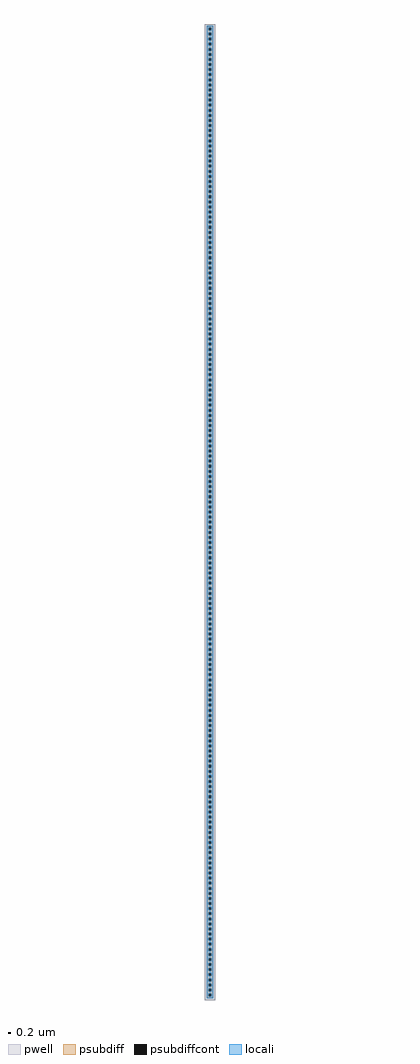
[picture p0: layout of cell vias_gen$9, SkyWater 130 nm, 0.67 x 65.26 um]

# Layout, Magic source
magic
tech sky130A
magscale 1 2
<< pwell >>
rect -26 -26 108 13026
<< psubdiff >>
rect 0 12977 82 13000
rect 0 12943 24 12977
rect 58 12943 82 12977
rect 0 12909 82 12943
rect 0 12875 24 12909
rect 58 12875 82 12909
rect 0 12841 82 12875
rect 0 12807 24 12841
rect 58 12807 82 12841
rect 0 12773 82 12807
rect 0 12739 24 12773
rect 58 12739 82 12773
rect 0 12705 82 12739
rect 0 12671 24 12705
rect 58 12671 82 12705
rect 0 12637 82 12671
rect 0 12603 24 12637
rect 58 12603 82 12637
rect 0 12569 82 12603
rect 0 12535 24 12569
rect 58 12535 82 12569
rect 0 12501 82 12535
rect 0 12467 24 12501
rect 58 12467 82 12501
rect 0 12433 82 12467
rect 0 12399 24 12433
rect 58 12399 82 12433
rect 0 12365 82 12399
rect 0 12331 24 12365
rect 58 12331 82 12365
rect 0 12297 82 12331
rect 0 12263 24 12297
rect 58 12263 82 12297
rect 0 12229 82 12263
rect 0 12195 24 12229
rect 58 12195 82 12229
rect 0 12161 82 12195
rect 0 12127 24 12161
rect 58 12127 82 12161
rect 0 12093 82 12127
rect 0 12059 24 12093
rect 58 12059 82 12093
rect 0 12025 82 12059
rect 0 11991 24 12025
rect 58 11991 82 12025
rect 0 11957 82 11991
rect 0 11923 24 11957
rect 58 11923 82 11957
rect 0 11889 82 11923
rect 0 11855 24 11889
rect 58 11855 82 11889
rect 0 11821 82 11855
rect 0 11787 24 11821
rect 58 11787 82 11821
rect 0 11753 82 11787
rect 0 11719 24 11753
rect 58 11719 82 11753
rect 0 11685 82 11719
rect 0 11651 24 11685
rect 58 11651 82 11685
rect 0 11617 82 11651
rect 0 11583 24 11617
rect 58 11583 82 11617
rect 0 11549 82 11583
rect 0 11515 24 11549
rect 58 11515 82 11549
rect 0 11481 82 11515
rect 0 11447 24 11481
rect 58 11447 82 11481
rect 0 11413 82 11447
rect 0 11379 24 11413
rect 58 11379 82 11413
rect 0 11345 82 11379
rect 0 11311 24 11345
rect 58 11311 82 11345
rect 0 11277 82 11311
rect 0 11243 24 11277
rect 58 11243 82 11277
rect 0 11209 82 11243
rect 0 11175 24 11209
rect 58 11175 82 11209
rect 0 11141 82 11175
rect 0 11107 24 11141
rect 58 11107 82 11141
rect 0 11073 82 11107
rect 0 11039 24 11073
rect 58 11039 82 11073
rect 0 11005 82 11039
rect 0 10971 24 11005
rect 58 10971 82 11005
rect 0 10937 82 10971
rect 0 10903 24 10937
rect 58 10903 82 10937
rect 0 10869 82 10903
rect 0 10835 24 10869
rect 58 10835 82 10869
rect 0 10801 82 10835
rect 0 10767 24 10801
rect 58 10767 82 10801
rect 0 10733 82 10767
rect 0 10699 24 10733
rect 58 10699 82 10733
rect 0 10665 82 10699
rect 0 10631 24 10665
rect 58 10631 82 10665
rect 0 10597 82 10631
rect 0 10563 24 10597
rect 58 10563 82 10597
rect 0 10529 82 10563
rect 0 10495 24 10529
rect 58 10495 82 10529
rect 0 10461 82 10495
rect 0 10427 24 10461
rect 58 10427 82 10461
rect 0 10393 82 10427
rect 0 10359 24 10393
rect 58 10359 82 10393
rect 0 10325 82 10359
rect 0 10291 24 10325
rect 58 10291 82 10325
rect 0 10257 82 10291
rect 0 10223 24 10257
rect 58 10223 82 10257
rect 0 10189 82 10223
rect 0 10155 24 10189
rect 58 10155 82 10189
rect 0 10121 82 10155
rect 0 10087 24 10121
rect 58 10087 82 10121
rect 0 10053 82 10087
rect 0 10019 24 10053
rect 58 10019 82 10053
rect 0 9985 82 10019
rect 0 9951 24 9985
rect 58 9951 82 9985
rect 0 9917 82 9951
rect 0 9883 24 9917
rect 58 9883 82 9917
rect 0 9849 82 9883
rect 0 9815 24 9849
rect 58 9815 82 9849
rect 0 9781 82 9815
rect 0 9747 24 9781
rect 58 9747 82 9781
rect 0 9713 82 9747
rect 0 9679 24 9713
rect 58 9679 82 9713
rect 0 9645 82 9679
rect 0 9611 24 9645
rect 58 9611 82 9645
rect 0 9577 82 9611
rect 0 9543 24 9577
rect 58 9543 82 9577
rect 0 9509 82 9543
rect 0 9475 24 9509
rect 58 9475 82 9509
rect 0 9441 82 9475
rect 0 9407 24 9441
rect 58 9407 82 9441
rect 0 9373 82 9407
rect 0 9339 24 9373
rect 58 9339 82 9373
rect 0 9305 82 9339
rect 0 9271 24 9305
rect 58 9271 82 9305
rect 0 9237 82 9271
rect 0 9203 24 9237
rect 58 9203 82 9237
rect 0 9169 82 9203
rect 0 9135 24 9169
rect 58 9135 82 9169
rect 0 9101 82 9135
rect 0 9067 24 9101
rect 58 9067 82 9101
rect 0 9033 82 9067
rect 0 8999 24 9033
rect 58 8999 82 9033
rect 0 8965 82 8999
rect 0 8931 24 8965
rect 58 8931 82 8965
rect 0 8897 82 8931
rect 0 8863 24 8897
rect 58 8863 82 8897
rect 0 8829 82 8863
rect 0 8795 24 8829
rect 58 8795 82 8829
rect 0 8761 82 8795
rect 0 8727 24 8761
rect 58 8727 82 8761
rect 0 8693 82 8727
rect 0 8659 24 8693
rect 58 8659 82 8693
rect 0 8625 82 8659
rect 0 8591 24 8625
rect 58 8591 82 8625
rect 0 8557 82 8591
rect 0 8523 24 8557
rect 58 8523 82 8557
rect 0 8489 82 8523
rect 0 8455 24 8489
rect 58 8455 82 8489
rect 0 8421 82 8455
rect 0 8387 24 8421
rect 58 8387 82 8421
rect 0 8353 82 8387
rect 0 8319 24 8353
rect 58 8319 82 8353
rect 0 8285 82 8319
rect 0 8251 24 8285
rect 58 8251 82 8285
rect 0 8217 82 8251
rect 0 8183 24 8217
rect 58 8183 82 8217
rect 0 8149 82 8183
rect 0 8115 24 8149
rect 58 8115 82 8149
rect 0 8081 82 8115
rect 0 8047 24 8081
rect 58 8047 82 8081
rect 0 8013 82 8047
rect 0 7979 24 8013
rect 58 7979 82 8013
rect 0 7945 82 7979
rect 0 7911 24 7945
rect 58 7911 82 7945
rect 0 7877 82 7911
rect 0 7843 24 7877
rect 58 7843 82 7877
rect 0 7809 82 7843
rect 0 7775 24 7809
rect 58 7775 82 7809
rect 0 7741 82 7775
rect 0 7707 24 7741
rect 58 7707 82 7741
rect 0 7673 82 7707
rect 0 7639 24 7673
rect 58 7639 82 7673
rect 0 7605 82 7639
rect 0 7571 24 7605
rect 58 7571 82 7605
rect 0 7537 82 7571
rect 0 7503 24 7537
rect 58 7503 82 7537
rect 0 7469 82 7503
rect 0 7435 24 7469
rect 58 7435 82 7469
rect 0 7401 82 7435
rect 0 7367 24 7401
rect 58 7367 82 7401
rect 0 7333 82 7367
rect 0 7299 24 7333
rect 58 7299 82 7333
rect 0 7265 82 7299
rect 0 7231 24 7265
rect 58 7231 82 7265
rect 0 7197 82 7231
rect 0 7163 24 7197
rect 58 7163 82 7197
rect 0 7129 82 7163
rect 0 7095 24 7129
rect 58 7095 82 7129
rect 0 7061 82 7095
rect 0 7027 24 7061
rect 58 7027 82 7061
rect 0 6993 82 7027
rect 0 6959 24 6993
rect 58 6959 82 6993
rect 0 6925 82 6959
rect 0 6891 24 6925
rect 58 6891 82 6925
rect 0 6857 82 6891
rect 0 6823 24 6857
rect 58 6823 82 6857
rect 0 6789 82 6823
rect 0 6755 24 6789
rect 58 6755 82 6789
rect 0 6721 82 6755
rect 0 6687 24 6721
rect 58 6687 82 6721
rect 0 6653 82 6687
rect 0 6619 24 6653
rect 58 6619 82 6653
rect 0 6585 82 6619
rect 0 6551 24 6585
rect 58 6551 82 6585
rect 0 6517 82 6551
rect 0 6483 24 6517
rect 58 6483 82 6517
rect 0 6449 82 6483
rect 0 6415 24 6449
rect 58 6415 82 6449
rect 0 6381 82 6415
rect 0 6347 24 6381
rect 58 6347 82 6381
rect 0 6313 82 6347
rect 0 6279 24 6313
rect 58 6279 82 6313
rect 0 6245 82 6279
rect 0 6211 24 6245
rect 58 6211 82 6245
rect 0 6177 82 6211
rect 0 6143 24 6177
rect 58 6143 82 6177
rect 0 6109 82 6143
rect 0 6075 24 6109
rect 58 6075 82 6109
rect 0 6041 82 6075
rect 0 6007 24 6041
rect 58 6007 82 6041
rect 0 5973 82 6007
rect 0 5939 24 5973
rect 58 5939 82 5973
rect 0 5905 82 5939
rect 0 5871 24 5905
rect 58 5871 82 5905
rect 0 5837 82 5871
rect 0 5803 24 5837
rect 58 5803 82 5837
rect 0 5769 82 5803
rect 0 5735 24 5769
rect 58 5735 82 5769
rect 0 5701 82 5735
rect 0 5667 24 5701
rect 58 5667 82 5701
rect 0 5633 82 5667
rect 0 5599 24 5633
rect 58 5599 82 5633
rect 0 5565 82 5599
rect 0 5531 24 5565
rect 58 5531 82 5565
rect 0 5497 82 5531
rect 0 5463 24 5497
rect 58 5463 82 5497
rect 0 5429 82 5463
rect 0 5395 24 5429
rect 58 5395 82 5429
rect 0 5361 82 5395
rect 0 5327 24 5361
rect 58 5327 82 5361
rect 0 5293 82 5327
rect 0 5259 24 5293
rect 58 5259 82 5293
rect 0 5225 82 5259
rect 0 5191 24 5225
rect 58 5191 82 5225
rect 0 5157 82 5191
rect 0 5123 24 5157
rect 58 5123 82 5157
rect 0 5089 82 5123
rect 0 5055 24 5089
rect 58 5055 82 5089
rect 0 5021 82 5055
rect 0 4987 24 5021
rect 58 4987 82 5021
rect 0 4953 82 4987
rect 0 4919 24 4953
rect 58 4919 82 4953
rect 0 4885 82 4919
rect 0 4851 24 4885
rect 58 4851 82 4885
rect 0 4817 82 4851
rect 0 4783 24 4817
rect 58 4783 82 4817
rect 0 4749 82 4783
rect 0 4715 24 4749
rect 58 4715 82 4749
rect 0 4681 82 4715
rect 0 4647 24 4681
rect 58 4647 82 4681
rect 0 4613 82 4647
rect 0 4579 24 4613
rect 58 4579 82 4613
rect 0 4545 82 4579
rect 0 4511 24 4545
rect 58 4511 82 4545
rect 0 4477 82 4511
rect 0 4443 24 4477
rect 58 4443 82 4477
rect 0 4409 82 4443
rect 0 4375 24 4409
rect 58 4375 82 4409
rect 0 4341 82 4375
rect 0 4307 24 4341
rect 58 4307 82 4341
rect 0 4273 82 4307
rect 0 4239 24 4273
rect 58 4239 82 4273
rect 0 4205 82 4239
rect 0 4171 24 4205
rect 58 4171 82 4205
rect 0 4137 82 4171
rect 0 4103 24 4137
rect 58 4103 82 4137
rect 0 4069 82 4103
rect 0 4035 24 4069
rect 58 4035 82 4069
rect 0 4001 82 4035
rect 0 3967 24 4001
rect 58 3967 82 4001
rect 0 3933 82 3967
rect 0 3899 24 3933
rect 58 3899 82 3933
rect 0 3865 82 3899
rect 0 3831 24 3865
rect 58 3831 82 3865
rect 0 3797 82 3831
rect 0 3763 24 3797
rect 58 3763 82 3797
rect 0 3729 82 3763
rect 0 3695 24 3729
rect 58 3695 82 3729
rect 0 3661 82 3695
rect 0 3627 24 3661
rect 58 3627 82 3661
rect 0 3593 82 3627
rect 0 3559 24 3593
rect 58 3559 82 3593
rect 0 3525 82 3559
rect 0 3491 24 3525
rect 58 3491 82 3525
rect 0 3457 82 3491
rect 0 3423 24 3457
rect 58 3423 82 3457
rect 0 3389 82 3423
rect 0 3355 24 3389
rect 58 3355 82 3389
rect 0 3321 82 3355
rect 0 3287 24 3321
rect 58 3287 82 3321
rect 0 3253 82 3287
rect 0 3219 24 3253
rect 58 3219 82 3253
rect 0 3185 82 3219
rect 0 3151 24 3185
rect 58 3151 82 3185
rect 0 3117 82 3151
rect 0 3083 24 3117
rect 58 3083 82 3117
rect 0 3049 82 3083
rect 0 3015 24 3049
rect 58 3015 82 3049
rect 0 2981 82 3015
rect 0 2947 24 2981
rect 58 2947 82 2981
rect 0 2913 82 2947
rect 0 2879 24 2913
rect 58 2879 82 2913
rect 0 2845 82 2879
rect 0 2811 24 2845
rect 58 2811 82 2845
rect 0 2777 82 2811
rect 0 2743 24 2777
rect 58 2743 82 2777
rect 0 2709 82 2743
rect 0 2675 24 2709
rect 58 2675 82 2709
rect 0 2641 82 2675
rect 0 2607 24 2641
rect 58 2607 82 2641
rect 0 2573 82 2607
rect 0 2539 24 2573
rect 58 2539 82 2573
rect 0 2505 82 2539
rect 0 2471 24 2505
rect 58 2471 82 2505
rect 0 2437 82 2471
rect 0 2403 24 2437
rect 58 2403 82 2437
rect 0 2369 82 2403
rect 0 2335 24 2369
rect 58 2335 82 2369
rect 0 2301 82 2335
rect 0 2267 24 2301
rect 58 2267 82 2301
rect 0 2233 82 2267
rect 0 2199 24 2233
rect 58 2199 82 2233
rect 0 2165 82 2199
rect 0 2131 24 2165
rect 58 2131 82 2165
rect 0 2097 82 2131
rect 0 2063 24 2097
rect 58 2063 82 2097
rect 0 2029 82 2063
rect 0 1995 24 2029
rect 58 1995 82 2029
rect 0 1961 82 1995
rect 0 1927 24 1961
rect 58 1927 82 1961
rect 0 1893 82 1927
rect 0 1859 24 1893
rect 58 1859 82 1893
rect 0 1825 82 1859
rect 0 1791 24 1825
rect 58 1791 82 1825
rect 0 1757 82 1791
rect 0 1723 24 1757
rect 58 1723 82 1757
rect 0 1689 82 1723
rect 0 1655 24 1689
rect 58 1655 82 1689
rect 0 1621 82 1655
rect 0 1587 24 1621
rect 58 1587 82 1621
rect 0 1553 82 1587
rect 0 1519 24 1553
rect 58 1519 82 1553
rect 0 1485 82 1519
rect 0 1451 24 1485
rect 58 1451 82 1485
rect 0 1417 82 1451
rect 0 1383 24 1417
rect 58 1383 82 1417
rect 0 1349 82 1383
rect 0 1315 24 1349
rect 58 1315 82 1349
rect 0 1281 82 1315
rect 0 1247 24 1281
rect 58 1247 82 1281
rect 0 1213 82 1247
rect 0 1179 24 1213
rect 58 1179 82 1213
rect 0 1145 82 1179
rect 0 1111 24 1145
rect 58 1111 82 1145
rect 0 1077 82 1111
rect 0 1043 24 1077
rect 58 1043 82 1077
rect 0 1009 82 1043
rect 0 975 24 1009
rect 58 975 82 1009
rect 0 941 82 975
rect 0 907 24 941
rect 58 907 82 941
rect 0 873 82 907
rect 0 839 24 873
rect 58 839 82 873
rect 0 805 82 839
rect 0 771 24 805
rect 58 771 82 805
rect 0 737 82 771
rect 0 703 24 737
rect 58 703 82 737
rect 0 669 82 703
rect 0 635 24 669
rect 58 635 82 669
rect 0 601 82 635
rect 0 567 24 601
rect 58 567 82 601
rect 0 533 82 567
rect 0 499 24 533
rect 58 499 82 533
rect 0 465 82 499
rect 0 431 24 465
rect 58 431 82 465
rect 0 397 82 431
rect 0 363 24 397
rect 58 363 82 397
rect 0 329 82 363
rect 0 295 24 329
rect 58 295 82 329
rect 0 261 82 295
rect 0 227 24 261
rect 58 227 82 261
rect 0 193 82 227
rect 0 159 24 193
rect 58 159 82 193
rect 0 125 82 159
rect 0 91 24 125
rect 58 91 82 125
rect 0 57 82 91
rect 0 23 24 57
rect 58 23 82 57
rect 0 0 82 23
<< psubdiffcont >>
rect 24 12943 58 12977
rect 24 12875 58 12909
rect 24 12807 58 12841
rect 24 12739 58 12773
rect 24 12671 58 12705
rect 24 12603 58 12637
rect 24 12535 58 12569
rect 24 12467 58 12501
rect 24 12399 58 12433
rect 24 12331 58 12365
rect 24 12263 58 12297
rect 24 12195 58 12229
rect 24 12127 58 12161
rect 24 12059 58 12093
rect 24 11991 58 12025
rect 24 11923 58 11957
rect 24 11855 58 11889
rect 24 11787 58 11821
rect 24 11719 58 11753
rect 24 11651 58 11685
rect 24 11583 58 11617
rect 24 11515 58 11549
rect 24 11447 58 11481
rect 24 11379 58 11413
rect 24 11311 58 11345
rect 24 11243 58 11277
rect 24 11175 58 11209
rect 24 11107 58 11141
rect 24 11039 58 11073
rect 24 10971 58 11005
rect 24 10903 58 10937
rect 24 10835 58 10869
rect 24 10767 58 10801
rect 24 10699 58 10733
rect 24 10631 58 10665
rect 24 10563 58 10597
rect 24 10495 58 10529
rect 24 10427 58 10461
rect 24 10359 58 10393
rect 24 10291 58 10325
rect 24 10223 58 10257
rect 24 10155 58 10189
rect 24 10087 58 10121
rect 24 10019 58 10053
rect 24 9951 58 9985
rect 24 9883 58 9917
rect 24 9815 58 9849
rect 24 9747 58 9781
rect 24 9679 58 9713
rect 24 9611 58 9645
rect 24 9543 58 9577
rect 24 9475 58 9509
rect 24 9407 58 9441
rect 24 9339 58 9373
rect 24 9271 58 9305
rect 24 9203 58 9237
rect 24 9135 58 9169
rect 24 9067 58 9101
rect 24 8999 58 9033
rect 24 8931 58 8965
rect 24 8863 58 8897
rect 24 8795 58 8829
rect 24 8727 58 8761
rect 24 8659 58 8693
rect 24 8591 58 8625
rect 24 8523 58 8557
rect 24 8455 58 8489
rect 24 8387 58 8421
rect 24 8319 58 8353
rect 24 8251 58 8285
rect 24 8183 58 8217
rect 24 8115 58 8149
rect 24 8047 58 8081
rect 24 7979 58 8013
rect 24 7911 58 7945
rect 24 7843 58 7877
rect 24 7775 58 7809
rect 24 7707 58 7741
rect 24 7639 58 7673
rect 24 7571 58 7605
rect 24 7503 58 7537
rect 24 7435 58 7469
rect 24 7367 58 7401
rect 24 7299 58 7333
rect 24 7231 58 7265
rect 24 7163 58 7197
rect 24 7095 58 7129
rect 24 7027 58 7061
rect 24 6959 58 6993
rect 24 6891 58 6925
rect 24 6823 58 6857
rect 24 6755 58 6789
rect 24 6687 58 6721
rect 24 6619 58 6653
rect 24 6551 58 6585
rect 24 6483 58 6517
rect 24 6415 58 6449
rect 24 6347 58 6381
rect 24 6279 58 6313
rect 24 6211 58 6245
rect 24 6143 58 6177
rect 24 6075 58 6109
rect 24 6007 58 6041
rect 24 5939 58 5973
rect 24 5871 58 5905
rect 24 5803 58 5837
rect 24 5735 58 5769
rect 24 5667 58 5701
rect 24 5599 58 5633
rect 24 5531 58 5565
rect 24 5463 58 5497
rect 24 5395 58 5429
rect 24 5327 58 5361
rect 24 5259 58 5293
rect 24 5191 58 5225
rect 24 5123 58 5157
rect 24 5055 58 5089
rect 24 4987 58 5021
rect 24 4919 58 4953
rect 24 4851 58 4885
rect 24 4783 58 4817
rect 24 4715 58 4749
rect 24 4647 58 4681
rect 24 4579 58 4613
rect 24 4511 58 4545
rect 24 4443 58 4477
rect 24 4375 58 4409
rect 24 4307 58 4341
rect 24 4239 58 4273
rect 24 4171 58 4205
rect 24 4103 58 4137
rect 24 4035 58 4069
rect 24 3967 58 4001
rect 24 3899 58 3933
rect 24 3831 58 3865
rect 24 3763 58 3797
rect 24 3695 58 3729
rect 24 3627 58 3661
rect 24 3559 58 3593
rect 24 3491 58 3525
rect 24 3423 58 3457
rect 24 3355 58 3389
rect 24 3287 58 3321
rect 24 3219 58 3253
rect 24 3151 58 3185
rect 24 3083 58 3117
rect 24 3015 58 3049
rect 24 2947 58 2981
rect 24 2879 58 2913
rect 24 2811 58 2845
rect 24 2743 58 2777
rect 24 2675 58 2709
rect 24 2607 58 2641
rect 24 2539 58 2573
rect 24 2471 58 2505
rect 24 2403 58 2437
rect 24 2335 58 2369
rect 24 2267 58 2301
rect 24 2199 58 2233
rect 24 2131 58 2165
rect 24 2063 58 2097
rect 24 1995 58 2029
rect 24 1927 58 1961
rect 24 1859 58 1893
rect 24 1791 58 1825
rect 24 1723 58 1757
rect 24 1655 58 1689
rect 24 1587 58 1621
rect 24 1519 58 1553
rect 24 1451 58 1485
rect 24 1383 58 1417
rect 24 1315 58 1349
rect 24 1247 58 1281
rect 24 1179 58 1213
rect 24 1111 58 1145
rect 24 1043 58 1077
rect 24 975 58 1009
rect 24 907 58 941
rect 24 839 58 873
rect 24 771 58 805
rect 24 703 58 737
rect 24 635 58 669
rect 24 567 58 601
rect 24 499 58 533
rect 24 431 58 465
rect 24 363 58 397
rect 24 295 58 329
rect 24 227 58 261
rect 24 159 58 193
rect 24 91 58 125
rect 24 23 58 57
<< locali >>
rect 0 12977 82 13000
rect 0 12943 24 12977
rect 58 12943 82 12977
rect 0 12909 82 12943
rect 0 12875 24 12909
rect 58 12875 82 12909
rect 0 12841 82 12875
rect 0 12807 24 12841
rect 58 12807 82 12841
rect 0 12773 82 12807
rect 0 12739 24 12773
rect 58 12739 82 12773
rect 0 12705 82 12739
rect 0 12671 24 12705
rect 58 12671 82 12705
rect 0 12637 82 12671
rect 0 12603 24 12637
rect 58 12603 82 12637
rect 0 12569 82 12603
rect 0 12535 24 12569
rect 58 12535 82 12569
rect 0 12501 82 12535
rect 0 12467 24 12501
rect 58 12467 82 12501
rect 0 12433 82 12467
rect 0 12399 24 12433
rect 58 12399 82 12433
rect 0 12365 82 12399
rect 0 12331 24 12365
rect 58 12331 82 12365
rect 0 12297 82 12331
rect 0 12263 24 12297
rect 58 12263 82 12297
rect 0 12229 82 12263
rect 0 12195 24 12229
rect 58 12195 82 12229
rect 0 12161 82 12195
rect 0 12127 24 12161
rect 58 12127 82 12161
rect 0 12093 82 12127
rect 0 12059 24 12093
rect 58 12059 82 12093
rect 0 12025 82 12059
rect 0 11991 24 12025
rect 58 11991 82 12025
rect 0 11957 82 11991
rect 0 11923 24 11957
rect 58 11923 82 11957
rect 0 11889 82 11923
rect 0 11855 24 11889
rect 58 11855 82 11889
rect 0 11821 82 11855
rect 0 11787 24 11821
rect 58 11787 82 11821
rect 0 11753 82 11787
rect 0 11719 24 11753
rect 58 11719 82 11753
rect 0 11685 82 11719
rect 0 11651 24 11685
rect 58 11651 82 11685
rect 0 11617 82 11651
rect 0 11583 24 11617
rect 58 11583 82 11617
rect 0 11549 82 11583
rect 0 11515 24 11549
rect 58 11515 82 11549
rect 0 11481 82 11515
rect 0 11447 24 11481
rect 58 11447 82 11481
rect 0 11413 82 11447
rect 0 11379 24 11413
rect 58 11379 82 11413
rect 0 11345 82 11379
rect 0 11311 24 11345
rect 58 11311 82 11345
rect 0 11277 82 11311
rect 0 11243 24 11277
rect 58 11243 82 11277
rect 0 11209 82 11243
rect 0 11175 24 11209
rect 58 11175 82 11209
rect 0 11141 82 11175
rect 0 11107 24 11141
rect 58 11107 82 11141
rect 0 11073 82 11107
rect 0 11039 24 11073
rect 58 11039 82 11073
rect 0 11005 82 11039
rect 0 10971 24 11005
rect 58 10971 82 11005
rect 0 10937 82 10971
rect 0 10903 24 10937
rect 58 10903 82 10937
rect 0 10869 82 10903
rect 0 10835 24 10869
rect 58 10835 82 10869
rect 0 10801 82 10835
rect 0 10767 24 10801
rect 58 10767 82 10801
rect 0 10733 82 10767
rect 0 10699 24 10733
rect 58 10699 82 10733
rect 0 10665 82 10699
rect 0 10631 24 10665
rect 58 10631 82 10665
rect 0 10597 82 10631
rect 0 10563 24 10597
rect 58 10563 82 10597
rect 0 10529 82 10563
rect 0 10495 24 10529
rect 58 10495 82 10529
rect 0 10461 82 10495
rect 0 10427 24 10461
rect 58 10427 82 10461
rect 0 10393 82 10427
rect 0 10359 24 10393
rect 58 10359 82 10393
rect 0 10325 82 10359
rect 0 10291 24 10325
rect 58 10291 82 10325
rect 0 10257 82 10291
rect 0 10223 24 10257
rect 58 10223 82 10257
rect 0 10189 82 10223
rect 0 10155 24 10189
rect 58 10155 82 10189
rect 0 10121 82 10155
rect 0 10087 24 10121
rect 58 10087 82 10121
rect 0 10053 82 10087
rect 0 10019 24 10053
rect 58 10019 82 10053
rect 0 9985 82 10019
rect 0 9951 24 9985
rect 58 9951 82 9985
rect 0 9917 82 9951
rect 0 9883 24 9917
rect 58 9883 82 9917
rect 0 9849 82 9883
rect 0 9815 24 9849
rect 58 9815 82 9849
rect 0 9781 82 9815
rect 0 9747 24 9781
rect 58 9747 82 9781
rect 0 9713 82 9747
rect 0 9679 24 9713
rect 58 9679 82 9713
rect 0 9645 82 9679
rect 0 9611 24 9645
rect 58 9611 82 9645
rect 0 9577 82 9611
rect 0 9543 24 9577
rect 58 9543 82 9577
rect 0 9509 82 9543
rect 0 9475 24 9509
rect 58 9475 82 9509
rect 0 9441 82 9475
rect 0 9407 24 9441
rect 58 9407 82 9441
rect 0 9373 82 9407
rect 0 9339 24 9373
rect 58 9339 82 9373
rect 0 9305 82 9339
rect 0 9271 24 9305
rect 58 9271 82 9305
rect 0 9237 82 9271
rect 0 9203 24 9237
rect 58 9203 82 9237
rect 0 9169 82 9203
rect 0 9135 24 9169
rect 58 9135 82 9169
rect 0 9101 82 9135
rect 0 9067 24 9101
rect 58 9067 82 9101
rect 0 9033 82 9067
rect 0 8999 24 9033
rect 58 8999 82 9033
rect 0 8965 82 8999
rect 0 8931 24 8965
rect 58 8931 82 8965
rect 0 8897 82 8931
rect 0 8863 24 8897
rect 58 8863 82 8897
rect 0 8829 82 8863
rect 0 8795 24 8829
rect 58 8795 82 8829
rect 0 8761 82 8795
rect 0 8727 24 8761
rect 58 8727 82 8761
rect 0 8693 82 8727
rect 0 8659 24 8693
rect 58 8659 82 8693
rect 0 8625 82 8659
rect 0 8591 24 8625
rect 58 8591 82 8625
rect 0 8557 82 8591
rect 0 8523 24 8557
rect 58 8523 82 8557
rect 0 8489 82 8523
rect 0 8455 24 8489
rect 58 8455 82 8489
rect 0 8421 82 8455
rect 0 8387 24 8421
rect 58 8387 82 8421
rect 0 8353 82 8387
rect 0 8319 24 8353
rect 58 8319 82 8353
rect 0 8285 82 8319
rect 0 8251 24 8285
rect 58 8251 82 8285
rect 0 8217 82 8251
rect 0 8183 24 8217
rect 58 8183 82 8217
rect 0 8149 82 8183
rect 0 8115 24 8149
rect 58 8115 82 8149
rect 0 8081 82 8115
rect 0 8047 24 8081
rect 58 8047 82 8081
rect 0 8013 82 8047
rect 0 7979 24 8013
rect 58 7979 82 8013
rect 0 7945 82 7979
rect 0 7911 24 7945
rect 58 7911 82 7945
rect 0 7877 82 7911
rect 0 7843 24 7877
rect 58 7843 82 7877
rect 0 7809 82 7843
rect 0 7775 24 7809
rect 58 7775 82 7809
rect 0 7741 82 7775
rect 0 7707 24 7741
rect 58 7707 82 7741
rect 0 7673 82 7707
rect 0 7639 24 7673
rect 58 7639 82 7673
rect 0 7605 82 7639
rect 0 7571 24 7605
rect 58 7571 82 7605
rect 0 7537 82 7571
rect 0 7503 24 7537
rect 58 7503 82 7537
rect 0 7469 82 7503
rect 0 7435 24 7469
rect 58 7435 82 7469
rect 0 7401 82 7435
rect 0 7367 24 7401
rect 58 7367 82 7401
rect 0 7333 82 7367
rect 0 7299 24 7333
rect 58 7299 82 7333
rect 0 7265 82 7299
rect 0 7231 24 7265
rect 58 7231 82 7265
rect 0 7197 82 7231
rect 0 7163 24 7197
rect 58 7163 82 7197
rect 0 7129 82 7163
rect 0 7095 24 7129
rect 58 7095 82 7129
rect 0 7061 82 7095
rect 0 7027 24 7061
rect 58 7027 82 7061
rect 0 6993 82 7027
rect 0 6959 24 6993
rect 58 6959 82 6993
rect 0 6925 82 6959
rect 0 6891 24 6925
rect 58 6891 82 6925
rect 0 6857 82 6891
rect 0 6823 24 6857
rect 58 6823 82 6857
rect 0 6789 82 6823
rect 0 6755 24 6789
rect 58 6755 82 6789
rect 0 6721 82 6755
rect 0 6687 24 6721
rect 58 6687 82 6721
rect 0 6653 82 6687
rect 0 6619 24 6653
rect 58 6619 82 6653
rect 0 6585 82 6619
rect 0 6551 24 6585
rect 58 6551 82 6585
rect 0 6517 82 6551
rect 0 6483 24 6517
rect 58 6483 82 6517
rect 0 6449 82 6483
rect 0 6415 24 6449
rect 58 6415 82 6449
rect 0 6381 82 6415
rect 0 6347 24 6381
rect 58 6347 82 6381
rect 0 6313 82 6347
rect 0 6279 24 6313
rect 58 6279 82 6313
rect 0 6245 82 6279
rect 0 6211 24 6245
rect 58 6211 82 6245
rect 0 6177 82 6211
rect 0 6143 24 6177
rect 58 6143 82 6177
rect 0 6109 82 6143
rect 0 6075 24 6109
rect 58 6075 82 6109
rect 0 6041 82 6075
rect 0 6007 24 6041
rect 58 6007 82 6041
rect 0 5973 82 6007
rect 0 5939 24 5973
rect 58 5939 82 5973
rect 0 5905 82 5939
rect 0 5871 24 5905
rect 58 5871 82 5905
rect 0 5837 82 5871
rect 0 5803 24 5837
rect 58 5803 82 5837
rect 0 5769 82 5803
rect 0 5735 24 5769
rect 58 5735 82 5769
rect 0 5701 82 5735
rect 0 5667 24 5701
rect 58 5667 82 5701
rect 0 5633 82 5667
rect 0 5599 24 5633
rect 58 5599 82 5633
rect 0 5565 82 5599
rect 0 5531 24 5565
rect 58 5531 82 5565
rect 0 5497 82 5531
rect 0 5463 24 5497
rect 58 5463 82 5497
rect 0 5429 82 5463
rect 0 5395 24 5429
rect 58 5395 82 5429
rect 0 5361 82 5395
rect 0 5327 24 5361
rect 58 5327 82 5361
rect 0 5293 82 5327
rect 0 5259 24 5293
rect 58 5259 82 5293
rect 0 5225 82 5259
rect 0 5191 24 5225
rect 58 5191 82 5225
rect 0 5157 82 5191
rect 0 5123 24 5157
rect 58 5123 82 5157
rect 0 5089 82 5123
rect 0 5055 24 5089
rect 58 5055 82 5089
rect 0 5021 82 5055
rect 0 4987 24 5021
rect 58 4987 82 5021
rect 0 4953 82 4987
rect 0 4919 24 4953
rect 58 4919 82 4953
rect 0 4885 82 4919
rect 0 4851 24 4885
rect 58 4851 82 4885
rect 0 4817 82 4851
rect 0 4783 24 4817
rect 58 4783 82 4817
rect 0 4749 82 4783
rect 0 4715 24 4749
rect 58 4715 82 4749
rect 0 4681 82 4715
rect 0 4647 24 4681
rect 58 4647 82 4681
rect 0 4613 82 4647
rect 0 4579 24 4613
rect 58 4579 82 4613
rect 0 4545 82 4579
rect 0 4511 24 4545
rect 58 4511 82 4545
rect 0 4477 82 4511
rect 0 4443 24 4477
rect 58 4443 82 4477
rect 0 4409 82 4443
rect 0 4375 24 4409
rect 58 4375 82 4409
rect 0 4341 82 4375
rect 0 4307 24 4341
rect 58 4307 82 4341
rect 0 4273 82 4307
rect 0 4239 24 4273
rect 58 4239 82 4273
rect 0 4205 82 4239
rect 0 4171 24 4205
rect 58 4171 82 4205
rect 0 4137 82 4171
rect 0 4103 24 4137
rect 58 4103 82 4137
rect 0 4069 82 4103
rect 0 4035 24 4069
rect 58 4035 82 4069
rect 0 4001 82 4035
rect 0 3967 24 4001
rect 58 3967 82 4001
rect 0 3933 82 3967
rect 0 3899 24 3933
rect 58 3899 82 3933
rect 0 3865 82 3899
rect 0 3831 24 3865
rect 58 3831 82 3865
rect 0 3797 82 3831
rect 0 3763 24 3797
rect 58 3763 82 3797
rect 0 3729 82 3763
rect 0 3695 24 3729
rect 58 3695 82 3729
rect 0 3661 82 3695
rect 0 3627 24 3661
rect 58 3627 82 3661
rect 0 3593 82 3627
rect 0 3559 24 3593
rect 58 3559 82 3593
rect 0 3525 82 3559
rect 0 3491 24 3525
rect 58 3491 82 3525
rect 0 3457 82 3491
rect 0 3423 24 3457
rect 58 3423 82 3457
rect 0 3389 82 3423
rect 0 3355 24 3389
rect 58 3355 82 3389
rect 0 3321 82 3355
rect 0 3287 24 3321
rect 58 3287 82 3321
rect 0 3253 82 3287
rect 0 3219 24 3253
rect 58 3219 82 3253
rect 0 3185 82 3219
rect 0 3151 24 3185
rect 58 3151 82 3185
rect 0 3117 82 3151
rect 0 3083 24 3117
rect 58 3083 82 3117
rect 0 3049 82 3083
rect 0 3015 24 3049
rect 58 3015 82 3049
rect 0 2981 82 3015
rect 0 2947 24 2981
rect 58 2947 82 2981
rect 0 2913 82 2947
rect 0 2879 24 2913
rect 58 2879 82 2913
rect 0 2845 82 2879
rect 0 2811 24 2845
rect 58 2811 82 2845
rect 0 2777 82 2811
rect 0 2743 24 2777
rect 58 2743 82 2777
rect 0 2709 82 2743
rect 0 2675 24 2709
rect 58 2675 82 2709
rect 0 2641 82 2675
rect 0 2607 24 2641
rect 58 2607 82 2641
rect 0 2573 82 2607
rect 0 2539 24 2573
rect 58 2539 82 2573
rect 0 2505 82 2539
rect 0 2471 24 2505
rect 58 2471 82 2505
rect 0 2437 82 2471
rect 0 2403 24 2437
rect 58 2403 82 2437
rect 0 2369 82 2403
rect 0 2335 24 2369
rect 58 2335 82 2369
rect 0 2301 82 2335
rect 0 2267 24 2301
rect 58 2267 82 2301
rect 0 2233 82 2267
rect 0 2199 24 2233
rect 58 2199 82 2233
rect 0 2165 82 2199
rect 0 2131 24 2165
rect 58 2131 82 2165
rect 0 2097 82 2131
rect 0 2063 24 2097
rect 58 2063 82 2097
rect 0 2029 82 2063
rect 0 1995 24 2029
rect 58 1995 82 2029
rect 0 1961 82 1995
rect 0 1927 24 1961
rect 58 1927 82 1961
rect 0 1893 82 1927
rect 0 1859 24 1893
rect 58 1859 82 1893
rect 0 1825 82 1859
rect 0 1791 24 1825
rect 58 1791 82 1825
rect 0 1757 82 1791
rect 0 1723 24 1757
rect 58 1723 82 1757
rect 0 1689 82 1723
rect 0 1655 24 1689
rect 58 1655 82 1689
rect 0 1621 82 1655
rect 0 1587 24 1621
rect 58 1587 82 1621
rect 0 1553 82 1587
rect 0 1519 24 1553
rect 58 1519 82 1553
rect 0 1485 82 1519
rect 0 1451 24 1485
rect 58 1451 82 1485
rect 0 1417 82 1451
rect 0 1383 24 1417
rect 58 1383 82 1417
rect 0 1349 82 1383
rect 0 1315 24 1349
rect 58 1315 82 1349
rect 0 1281 82 1315
rect 0 1247 24 1281
rect 58 1247 82 1281
rect 0 1213 82 1247
rect 0 1179 24 1213
rect 58 1179 82 1213
rect 0 1145 82 1179
rect 0 1111 24 1145
rect 58 1111 82 1145
rect 0 1077 82 1111
rect 0 1043 24 1077
rect 58 1043 82 1077
rect 0 1009 82 1043
rect 0 975 24 1009
rect 58 975 82 1009
rect 0 941 82 975
rect 0 907 24 941
rect 58 907 82 941
rect 0 873 82 907
rect 0 839 24 873
rect 58 839 82 873
rect 0 805 82 839
rect 0 771 24 805
rect 58 771 82 805
rect 0 737 82 771
rect 0 703 24 737
rect 58 703 82 737
rect 0 669 82 703
rect 0 635 24 669
rect 58 635 82 669
rect 0 601 82 635
rect 0 567 24 601
rect 58 567 82 601
rect 0 533 82 567
rect 0 499 24 533
rect 58 499 82 533
rect 0 465 82 499
rect 0 431 24 465
rect 58 431 82 465
rect 0 397 82 431
rect 0 363 24 397
rect 58 363 82 397
rect 0 329 82 363
rect 0 295 24 329
rect 58 295 82 329
rect 0 261 82 295
rect 0 227 24 261
rect 58 227 82 261
rect 0 193 82 227
rect 0 159 24 193
rect 58 159 82 193
rect 0 125 82 159
rect 0 91 24 125
rect 58 91 82 125
rect 0 57 82 91
rect 0 23 24 57
rect 58 23 82 57
rect 0 0 82 23
<< end >>
